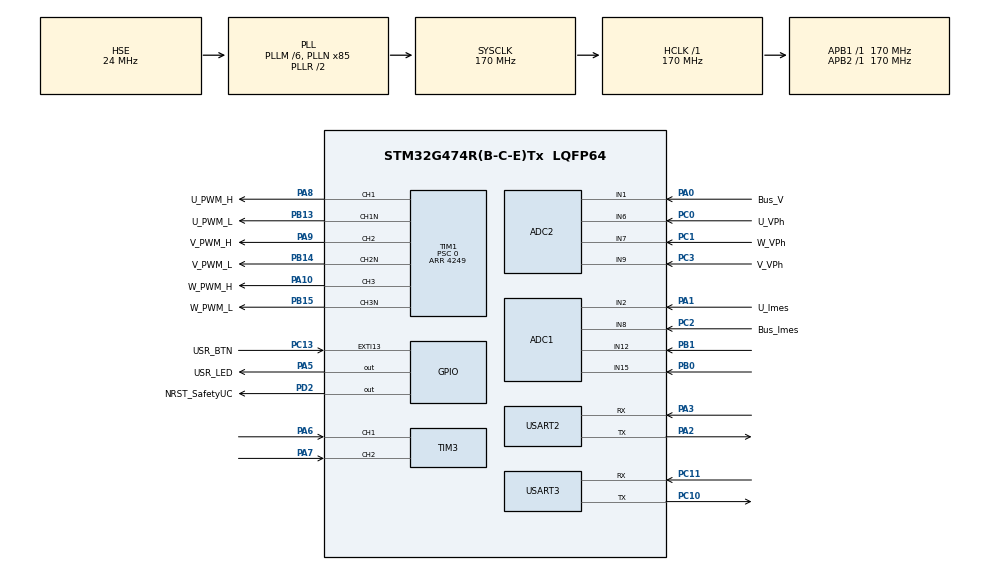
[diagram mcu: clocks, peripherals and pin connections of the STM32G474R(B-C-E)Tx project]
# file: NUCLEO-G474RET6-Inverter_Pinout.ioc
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ADC1.Channel-0\#ChannelRegularConversion=ADC_CHANNEL_2
ADC1.DMAContinuousRequests=ENABLE
ADC1.ExternalTrigConv=ADC_EXTERNALTRIG_T1_TRGO
ADC1.NbrOfConversion=1
ADC1.NbrOfConversionFlag=1
ADC1.OffsetNumber-0\#ChannelRegularConversion=ADC_OFFSET_NONE
ADC1.Rank-0\#ChannelRegularConversion=1
ADC1.SamplingTime-0\#ChannelRegularConversion=ADC_SAMPLETIME_12CYCLES_5
ADC1.master=1
ADC2.Channel-0\#ChannelRegularConversion=ADC_CHANNEL_6
ADC2.Channel-2\#ChannelRegularConversion=ADC_CHANNEL_7
ADC2.DMAContinuousRequests=ENABLE
ADC2.ExternalTrigConv=ADC_EXTERNALTRIG_T1_TRGO
ADC2.NbrOfConversion=2
ADC2.NbrOfConversionFlag=1
ADC2.OffsetNumber-0\#ChannelRegularConversion=ADC_OFFSET_NONE
ADC2.OffsetNumber-2\#ChannelRegularConversion=ADC_OFFSET_NONE
ADC2.Rank-0\#ChannelRegularConversion=1
ADC2.Rank-2\#ChannelRegularConversion=2
ADC2.SamplingTime-0\#ChannelRegularConversion=ADC_SAMPLETIME_12CYCLES_5
ADC2.SamplingTime-2\#ChannelRegularConversion=ADC_SAMPLETIME_12CYCLES_5
Dma.ADC1.0.Direction=DMA_PERIPH_TO_MEMORY
Dma.ADC1.0.EventEnable=DISABLE
Dma.ADC1.0.Instance=DMA1_Channel2
Dma.ADC1.0.MemDataAlignment=DMA_MDATAALIGN_WORD
Dma.ADC1.0.MemInc=DMA_MINC_ENABLE
Dma.ADC1.0.Mode=DMA_CIRCULAR
Dma.ADC1.0.PeriphDataAlignment=DMA_PDATAALIGN_HALFWORD
Dma.ADC1.0.PeriphInc=DMA_PINC_DISABLE
Dma.ADC1.0.Polarity=HAL_DMAMUX_REQ_GEN_RISING
Dma.ADC1.0.Priority=DMA_PRIORITY_LOW
Dma.ADC1.0.RequestNumber=1
Dma.ADC1.0.SignalID=NONE
Dma.ADC1.0.SyncEnable=DISABLE
Dma.ADC1.0.SyncPolarity=HAL_DMAMUX_SYNC_NO_EVENT
Dma.ADC1.0.SyncRequestNumber=1
Dma.ADC1.0.SyncSignalID=NONE
Dma.ADC2.1.Direction=DMA_PERIPH_TO_MEMORY
Dma.ADC2.1.EventEnable=DISABLE
Dma.ADC2.1.Instance=DMA1_Channel1
Dma.ADC2.1.MemDataAlignment=DMA_MDATAALIGN_WORD
Dma.ADC2.1.MemInc=DMA_MINC_ENABLE
Dma.ADC2.1.Mode=DMA_CIRCULAR
Dma.ADC2.1.PeriphDataAlignment=DMA_PDATAALIGN_HALFWORD
Dma.ADC2.1.PeriphInc=DMA_PINC_DISABLE
Dma.ADC2.1.Polarity=HAL_DMAMUX_REQ_GEN_RISING
Dma.ADC2.1.Priority=DMA_PRIORITY_LOW
Dma.ADC2.1.RequestNumber=1
Dma.ADC2.1.SignalID=NONE
Dma.ADC2.1.SyncEnable=DISABLE
Dma.ADC2.1.SyncPolarity=HAL_DMAMUX_SYNC_NO_EVENT
Dma.ADC2.1.SyncRequestNumber=1
Dma.ADC2.1.SyncSignalID=NONE
Dma.Request0=ADC1
Dma.Request1=ADC2
Mcu.Family=STM32G4
Mcu.Name=STM32G474R(B-C-E)Tx
Mcu.Package=LQFP64
NVIC.DMA1_Channel1_IRQn=true\:0\:0\:false\:false\:true\:false\:true\:true
NVIC.DMA1_Channel2_IRQn=true\:0\:0\:false\:false\:true\:false\:true\:true
NVIC.EXTI15_10_IRQn=true\:0\:0\:false\:false\:true\:true\:true\:true
NVIC.PriorityGroup=NVIC_PRIORITYGROUP_4
NVIC.TIM1_UP_TIM16_IRQn=true\:0\:0\:false\:false\:true\:true\:true\:true
NVIC.TIM4_IRQn=true\:0\:0\:false\:false\:true\:true\:true\:true
NVIC.TIM6_DAC_IRQn=true\:15\:0\:false\:false\:true\:false\:true\:true
NVIC.TimeBase=TIM6_DAC_IRQn
NVIC.TimeBaseIP=TIM6
NVIC.USART2_IRQn=true\:0\:0\:false\:false\:true\:true\:true\:true
NVIC.USART3_IRQn=true\:0\:0\:false\:false\:true\:true\:true\:true
PA0.GPIO_Label=Bus_V
PA0.Mode=IN1-Single-Ended
PA0.Signal=ADC2_IN1
PA1.GPIO_Label=U_Imes
PA1.Mode=IN2-Single-Ended
PA1.Signal=ADC1_IN2
PA10.GPIO_Label=W_PWM_H
PA10.Signal=S_TIM1_CH3
PA13.GPIO_Label=T_SWDIO
PA13.Mode=Trace_Asynchronous_SW
PA13.Signal=SYS_JTMS-SWDIO
PA14.GPIO_Label=T_SWCLK
PA14.Mode=Trace_Asynchronous_SW
PA14.Signal=SYS_JTCK-SWCLK
PA2.Mode=Asynchronous
PA2.Signal=USART2_TX
PA3.Mode=Asynchronous
PA3.Signal=USART2_RX
PA5.GPIO_Label=USR_LED
PA5.Signal=GPIO_Output
PA6.Signal=S_TIM3_CH1
PA7.Signal=S_TIM3_CH2
PA8.GPIO_Label=U_PWM_H
PA8.Signal=S_TIM1_CH1
PA9.GPIO_Label=V_PWM_H
PA9.Signal=S_TIM1_CH2
PB0.Mode=IN15-Single-Ended
PB0.Signal=ADC1_IN15
PB1.Mode=IN12-Single-Ended
PB1.Signal=ADC1_IN12
PB13.GPIO_Label=U_PWM_L
PB13.Mode=PWM Generation1 CH1 CH1N
PB13.Signal=TIM1_CH1N
PB14.GPIO_Label=V_PWM_L
PB14.Mode=PWM Generation2 CH2 CH2N
PB14.Signal=TIM1_CH2N
PB15.GPIO_Label=W_PWM_L
PB15.Mode=PWM Generation3 CH3 CH3N
PB15.Signal=TIM1_CH3N
PB2.GPIO_Label=V_Imes
PB2.Signal=ADC2_IN12
PB3.GPIO_Label=T_SWO
PB3.Mode=Trace_Asynchronous_SW
PB3.Signal=SYS_JTDO-SWO
PC0.GPIO_Label=U_VPh
PC0.Mode=IN6-Single-Ended
PC0.Signal=ADC2_IN6
PC1.GPIO_Label=W_VPh
PC1.Mode=IN7-Single-Ended
PC1.Signal=ADC2_IN7
PC10.Mode=Asynchronous
PC10.Signal=USART3_TX
PC11.Mode=Asynchronous
PC11.Signal=USART3_RX
PC13.GPIO_Label=USR_BTN
PC13.Signal=GPXTI13
PC14-OSC32_IN.Mode=LSE-External-Oscillator
PC14-OSC32_IN.Signal=RCC_OSC32_IN
PC15-OSC32_OUT.Mode=LSE-External-Oscillator
PC15-OSC32_OUT.Signal=RCC_OSC32_OUT
PC2.GPIO_Label=Bus_Imes
PC2.Mode=IN8-Single-Ended
PC2.Signal=ADC1_IN8
PC3.GPIO_Label=V_VPh
PC3.Mode=IN9-Single-Ended
PC3.Signal=ADC2_IN9
PC8.Signal=S_TIM3_CH3
PD2.GPIO_Label=NRST_SafetyUC
PD2.Signal=GPIO_Output
PF0-OSC_IN.Mode=HSE-External-Oscillator
PF0-OSC_IN.Signal=RCC_OSC_IN
PF1-OSC_OUT.Mode=HSE-External-Oscillator
PF1-OSC_OUT.Signal=RCC_OSC_OUT
ProjectManager.HeapSize=0x200
ProjectManager.StackSize=0x400
ProjectManager.TargetToolchain=STM32CubeIDE
RCC.ADC12Freq_Value=170000000
RCC.ADC345Freq_Value=170000000
RCC.AHBFreq_Value=170000000
RCC.APB1Freq_Value=170000000
RCC.APB1TimFreq_Value=170000000
RCC.APB2Freq_Value=170000000
RCC.APB2TimFreq_Value=170000000
RCC.CortexFreq_Value=170000000
RCC.EXTERNAL_CLOCK_VALUE=12288000
RCC.HCLKFreq_Value=170000000
RCC.HSE_VALUE=24000000
RCC.HSI48_VALUE=48000000
RCC.HSI_VALUE=16000000
RCC.PLLM=RCC_PLLM_DIV6
RCC.PLLN=85
RCC.PLLSourceVirtual=RCC_PLLSOURCE_HSE
RCC.RTCClockSelection=RCC_RTCCLKSOURCE_LSE
RCC.SYSCLKFreq_VALUE=170000000
RCC.SYSCLKSource=RCC_SYSCLKSOURCE_PLLCLK
RCC.USBFreq_Value=170000000
RCC.VCOOutputFreq_Value=340000000
SH.S_TIM1_CH1.0=TIM1_CH1,PWM Generation1 CH1 CH1N
SH.S_TIM1_CH2.0=TIM1_CH2,PWM Generation2 CH2 CH2N
SH.S_TIM1_CH3.0=TIM1_CH3,PWM Generation3 CH3 CH3N
SH.S_TIM3_CH1.0=TIM3_CH1,Encoder_Interface
SH.S_TIM3_CH2.0=TIM3_CH2,Encoder_Interface
SH.S_TIM3_CH3.0=TIM3_CH3
TIM1.Channel-PWM\ Generation1\ CH1\ CH1N=TIM_CHANNEL_1
TIM1.Channel-PWM\ Generation2\ CH2\ CH2N=TIM_CHANNEL_2
TIM1.Channel-PWM\ Generation3\ CH3\ CH3N=TIM_CHANNEL_3
TIM1.CounterMode=TIM_COUNTERMODE_CENTERALIGNED1
TIM1.DeadTime=34
TIM1.PeriodNoDither=4249
TIM1.Prescaler=0
TIM1.PulseNoDither_1=2146
TIM1.PulseNoDither_2=2146
TIM1.TIM_MasterOutputTrigger=TIM_TRGO_UPDATE
TIM1.TIM_MasterSlaveMode=TIM_MASTERSLAVEMODE_ENABLE
TIM4.PeriodNoDither=19
TIM4.Prescaler=169
USART2.VirtualMode-Asynchronous=VM_ASYNC
USART3.VirtualMode-Asynchronous=VM_ASYNC
VP_SYS_VS_DBSignals.Mode=DisableDeadBatterySignals
VP_SYS_VS_tim6.Mode=TIM6
VP_TIM4_VS_ClockSourceINT.Mode=Internal
board=NUCLEO-G474RE

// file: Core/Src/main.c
/* USER CODE BEGIN Header */
/**
 ******************************************************************************
 * @file           : main.c
 * @brief          : Main program body
 ******************************************************************************
 * @attention
 *
 * Copyright (c) 2023 STMicroelectronics.
 * All rights reserved.
 *
 * This software is licensed under terms that can be found in the LICENSE file
 * in the root directory of this software component.
 * If no LICENSE file comes with this software, it is provided AS-IS.
 *
 ******************************************************************************
 */
/* USER CODE END Header */
#include "main.h"
#include "adc.h"
#include "dma.h"
#include "tim.h"
#include "usart.h"
#include "gpio.h"

/* USER CODE BEGIN Includes */
#include "mylibs/shell.h"
#include <stdio.h>
#include "current.h"

/* USER CODE END Includes */

/* USER CODE BEGIN PM */
#define RES_ENCODER 4096
#define TE 0.00002
/* USER CODE END PM */

/* USER CODE BEGIN PV */
uint32_t encoder_value = 0;
uint32_t prev_encoder_value = 0;
float rpm;
uint32_t dmaADCU;
float adcValue[2];
/* USER CODE END PV */

void SystemClock_Config(void);

/* USER CODE BEGIN 0 */

void HAL_ADC_ConvCpltCallback(ADC_HandleTypeDef *hadc)
{
	if(hadc->Instance == ADC1)
	{
		adcValue[0] = (float)dmaADCU;
		adcValue[0] = adcValue[0] * 3300 / 4096;
		adcValue[0] -= OFFSET_SME;
		adcValue[0] = adcValue[0] / SENSITIVITY_SME;
	}
}

/* USER CODE END 0 */

int main(void)
{

  /* MCU Configuration--------------------------------------------------------*/

  /* Reset of all peripherals, Initializes the Flash interface and the Systick. */
  HAL_Init();

  /* Configure the system clock */
  SystemClock_Config();

  /* Initialize all configured peripherals */
  MX_GPIO_Init();
  MX_DMA_Init();
  MX_ADC2_Init();
  MX_ADC1_Init();
  MX_TIM1_Init();
  MX_TIM3_Init();
  MX_USART2_UART_Init();
  MX_USART3_UART_Init();
  MX_TIM4_Init();
  /* USER CODE BEGIN 2 */
	Shell_Init();

	  if(HAL_TIM_Encoder_Start(&htim3, TIM_CHANNEL_ALL) != HAL_OK) // Encodeur
	  {
		  Error_Handler();
	  }

	if(HAL_ADCEx_Calibration_Start(&hadc1, ADC_SINGLE_ENDED) != HAL_OK)
	{
		Error_Handler();
	}

	if(HAL_ADC_Start_DMA(&hadc1, &dmaADCU, 1) != HAL_OK)
	{
		Error_Handler();
	}

  /* USER CODE END 2 */

  /* Infinite loop */
  /* USER CODE BEGIN WHILE */
	while (1)
	{
		Shell_Loop();
    /* USER CODE END WHILE */

	}
}

void SystemClock_Config(void)
{
  RCC_OscInitTypeDef RCC_OscInitStruct = {0};
  RCC_ClkInitTypeDef RCC_ClkInitStruct = {0};

  /** Configure the main internal regulator output voltage
  */
  HAL_PWREx_ControlVoltageScaling(PWR_REGULATOR_VOLTAGE_SCALE1_BOOST);

  /** Initializes the RCC Oscillators according to the specified parameters
  * in the RCC_OscInitTypeDef structure.
  */
  RCC_OscInitStruct.OscillatorType = RCC_OSCILLATORTYPE_HSE;
  RCC_OscInitStruct.HSEState = RCC_HSE_ON;
  RCC_OscInitStruct.PLL.PLLState = RCC_PLL_ON;
  RCC_OscInitStruct.PLL.PLLSource = RCC_PLLSOURCE_HSE;
  RCC_OscInitStruct.PLL.PLLM = RCC_PLLM_DIV6;
  RCC_OscInitStruct.PLL.PLLN = 85;
  RCC_OscInitStruct.PLL.PLLP = RCC_PLLP_DIV2;
  RCC_OscInitStruct.PLL.PLLQ = RCC_PLLQ_DIV2;
  RCC_OscInitStruct.PLL.PLLR = RCC_PLLR_DIV2;
  if (HAL_RCC_OscConfig(&RCC_OscInitStruct) != HAL_OK)
  {
    Error_Handler();
  }

  /** Initializes the CPU, AHB and APB buses clocks
  */
  RCC_ClkInitStruct.ClockType = RCC_CLOCKTYPE_HCLK|RCC_CLOCKTYPE_SYSCLK
                              |RCC_CLOCKTYPE_PCLK1|RCC_CLOCKTYPE_PCLK2;
  RCC_ClkInitStruct.SYSCLKSource = RCC_SYSCLKSOURCE_PLLCLK;
  RCC_ClkInitStruct.AHBCLKDivider = RCC_SYSCLK_DIV1;
  RCC_ClkInitStruct.APB1CLKDivider = RCC_HCLK_DIV1;
  RCC_ClkInitStruct.APB2CLKDivider = RCC_HCLK_DIV1;

  if (HAL_RCC_ClockConfig(&RCC_ClkInitStruct, FLASH_LATENCY_4) != HAL_OK)
  {
    Error_Handler();
  }
}

void HAL_TIM_PeriodElapsedCallback(TIM_HandleTypeDef *htim)
{
  if (htim->Instance == TIM6) {
    HAL_IncTick();
  }
  /* USER CODE BEGIN Callback 1 */
	if(htim->Instance == TIM4)
	{
		uint32_t encoder_value = htim->Instance->CNT;

		float distance = (encoder_value - prev_encoder_value) / (float)RES_ENCODER;

		rpm = 60.0 * distance / TE;

		prev_encoder_value = encoder_value;

	}
  /* USER CODE END Callback 1 */
}

void Error_Handler(void)
{
	__disable_irq();
	while (1)
	{
	}
}
